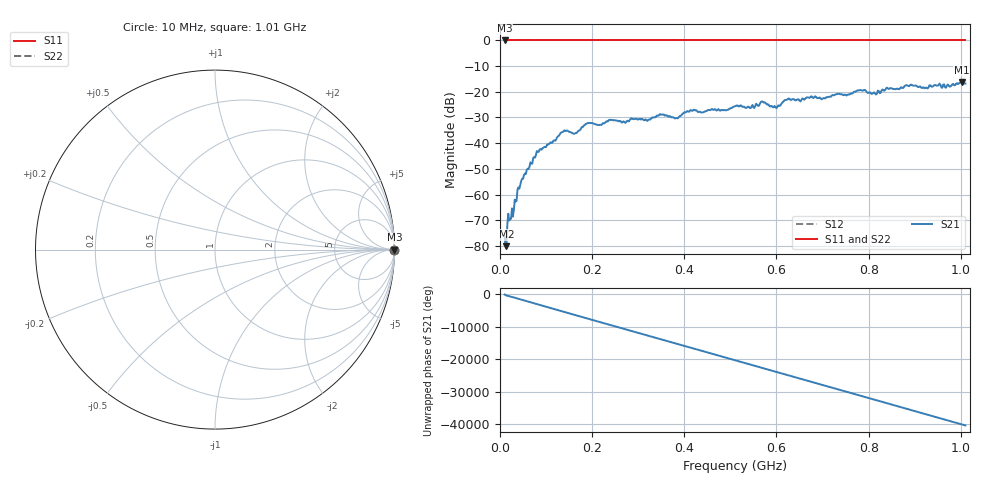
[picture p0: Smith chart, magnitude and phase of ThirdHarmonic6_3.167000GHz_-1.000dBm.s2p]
! 8/17/2025 9:31:38 AM
! C:\ANRITSUVNA\TEMP\TEMP.S2P
! CHANNEL.1
! TR.MEASUREMENT
! RAW.DATA
! RF.CORRECTION.OFF
! AVERAGING.OFF
! IF.BANDWIDTH: 5KHZ
! SWEEPTYPE:  FREQ.SWEEP(Linear)
! Reference Plane Port Info
! PORT:  PORT1  PORT2
! DISTANCE:  0  m  0  m
! TIME:  0  s  0  s
! PHASE.OFFSET:  0  deg.  0  deg.
! LOSS:  0  dB  0  dB
! REF.LOSS:  0  dB  0  dB
! REF.FREQ:  0  Hz  0  Hz
! Power Info
! POWER:  -20  dBm  -20  dBm
! EFF.POWER:  -20  dBm  -20  dBm
! SOURCE.ATTEN:  0  dB  0  dB
! TEST.ATTEN:  0  dB  0  dB
# GHZ S RI R 50.0
! FREQ.GHZ  S11RE  S11IM  S21RE  S21IM  S12RE  S12IM  S22RE  S22IM
!; PortSelection: Port_12
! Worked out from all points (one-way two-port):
!   501 points, 10 MHz to 1.01 GHz, reference 50 ohm
!   highest |S21| = -16.14 dB at 1.002 GHz (marker M1); lowest = -80.1 dB at 14 MHz (marker M2)
!   lowest |S11| = 0.0 dB at 10 MHz (marker M3)
!   |S11| at or under -10 dB: nowhere
!   |S22| runs from 0.0 to 0.0 dB; largest |S21 - S12| = 1.1
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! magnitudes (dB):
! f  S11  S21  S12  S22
! 10 MHz  0.0  -76.3  0.0  0.0
! 14 MHz  0.0  -80.1  0.0  0.0
! 20 MHz  0.0  -70.1  0.0  0.0
! 32 MHz  0.0  -62.0  0.0  0.0
! 42 MHz  0.0  -57.7  0.0  0.0
! 82 MHz  0.0  -43.4  0.0  0.0
! 136 MHz  0.0  -35.6  0.0  0.0
! 162 MHz  0.0  -36.3  0.0  0.0
! 178 MHz  0.0  -33.7  0.0  0.0
! 344 MHz  0.0  -29.3  0.0  0.0
! 382 MHz  0.0  -30.2  0.0  0.0
! 416 MHz  0.0  -27.4  0.0  0.0
! 510 MHz  0.0  -25.6  0.0  0.0
! 570 MHz  0.0  -23.8  0.0  0.0
! 598 MHz  0.0  -26.1  0.0  0.0
! 624 MHz  0.0  -22.9  0.0  0.0
! 678 MHz  0.0  -22.1  0.0  0.0
! 780 MHz  0.0  -19.4  0.0  0.0
! 814 MHz  0.0  -20.7  0.0  0.0
! 844 MHz  0.0  -18.9  0.0  0.0
! 1.002 GHz  0.0  -16.1  0.0  0.0
! 1.01 GHz  0.0  -16.8  0.0  0.0
